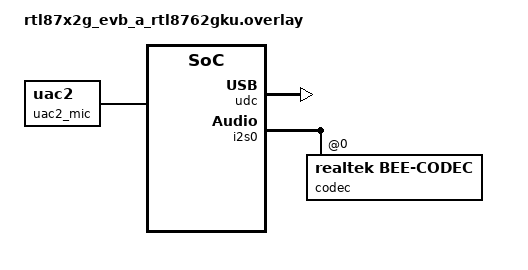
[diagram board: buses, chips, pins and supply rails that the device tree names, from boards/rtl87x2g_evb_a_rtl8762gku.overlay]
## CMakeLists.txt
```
# SPDX-License-Identifier: Apache-2.0

cmake_minimum_required(VERSION 3.20.0)
find_package(Zephyr REQUIRED HINTS $ENV{ZEPHYR_BASE})
project(uac_mic)

include(${ZEPHYR_BASE}/samples/subsys/usb/common/common.cmake)

FILE(GLOB app_sources src/*.c)
target_sources(app PRIVATE ${app_sources})
```

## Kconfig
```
# Copyright (c) 2026 Realtek Semiconductor Corporation
# SPDX-License-Identifier: Apache-2.0

source "samples/subsys/usb/common/Kconfig.sample_usbd"

source "Kconfig.zephyr"
```

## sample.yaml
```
sample:
  name: USB audio microphone sample
tests:
  sample.usb.audio.uac_mic:
    depends_on: usb_device
    tags: usb
    arch_exclude: posix
    harness: console
    harness_config:
      type: multi_line
      ordered: true
      regex:
        - "Entered main"
        - "Found USB Microphone Device"
        - "USB enabled"
```

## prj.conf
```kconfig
CONFIG_STDOUT_CONSOLE=y

#USB related configs
CONFIG_USB_DEVICE_STACK_NEXT=y
CONFIG_CDC_ACM_SERIAL_INITIALIZE_AT_BOOT=n
CONFIG_USBD_AUDIO2_CLASS=y
CONFIG_UDC_DWC2_PTI=y
CONFIG_SAMPLE_USBD_PID=0x000F
CONFIG_SAMPLE_USBD_PRODUCT="Zephyr USB audio mic sample"

#LOG subsystem related configs
CONFIG_LOG=y
CONFIG_USBD_LOG_LEVEL_WRN=y
CONFIG_UDC_DRIVER_LOG_LEVEL_WRN=y

#I2S and codec configs (for MIC capture)
CONFIG_I2S=y
CONFIG_I2S_BEE=y
CONFIG_I2S_BEE_TX=y
CONFIG_I2S_BEE_RX=y
CONFIG_AUDIO=y
CONFIG_AUDIO_CODEC=y
CONFIG_AUDIO_CODEC_BEE=y
CONFIG_DMA=y
```

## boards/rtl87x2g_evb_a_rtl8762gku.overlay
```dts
#include <zephyr/dt-bindings/usb/audio.h>

zephyr_udc0: &udc {
	status = "okay";
};

/ {
	aliases {
		test-i2s = &i2s0;
		test-codec = &codec;
	};

	/*
	 * UAC2 microphone topology (capture, device -> host):
	 *
	 *   clock -> in_clock
	 *   Microphone Input Terminal (mic_input) -> USB Streaming Output
	 *   Terminal (in_terminal) -> AudioStreaming IN endpoint (as_in)
	 *
	 * 48 kHz / 16-bit / 2 channels, front-left + front-right.
	 */
	uac2_mic: usb_audio2 {
		compatible = "zephyr,uac2";
		full-speed;
		high-speed;
		audio-function = <AUDIO_FUNCTION_MICROPHONE>;

		uac_aclk: aclk {
			compatible = "zephyr,uac2-clock-source";
			clock-type = "internal-fixed";
			frequency-control = "read-only";
			sampling-frequencies = <48000>;
		};

		mic_input: input_terminal {
			compatible = "zephyr,uac2-input-terminal";
			clock-source = <&uac_aclk>;
			terminal-type = <INPUT_TERMINAL_MICROPHONE>;
			front-left;
			front-right;
		};

		in_terminal: output_terminal {
			compatible = "zephyr,uac2-output-terminal";
			data-source = <&mic_input>;
			clock-source = <&uac_aclk>;
			terminal-type = <USB_TERMINAL_STREAMING>;
		};

		as_in: audio_streaming {
			compatible = "zephyr,uac2-audio-streaming";
			linked-terminal = <&in_terminal>;
			subslot-size = <2>;
			bit-resolution = <16>;
			/* 1000 us = bInterval 4: one 48-sample packet per poll,
			 * ~1000 sends/s. Larger/fewer transfers keep the single
			 * core from starving the I2S reader (250 us needs ~4000
			 * sends/s and empties the ring -> silence).
			 */
			polling-period-us = <1000>;
		};
	};
};

/* i2s codec rx */
&i2s0 {
	dmas = <&dma0 0 41 0x26a1>, <&dma0 1 42 0x648a>;
	dma-names = "tx", "rx";
	pinctrl-0 = <&i2s0_default>;
	pinctrl-names = "default";

	status = "okay";
	codec: codec@0 {
		compatible = "realtek,bee-codec";
		reg = <0>;
		channel-sequence = "l_r";
		mic-bias = "1_8";
		mic-bst-gain = "30dB";
		mic-bst-mode = "differential";
		mic-type = "amic";
		dmic-data-latch = "rising_latch";
		ad-gain = <0x2f>;
		boost-gain = "0dB";
		pinctrl-0 = <&codec_default>;
		pinctrl-names = "default";
		status = "okay";
	};
};

&dma0 {
    status = "okay";
};

&pinctrl {
	i2s0_default: i2s0_default {
		group1 {
			psels = <BEE_PSEL(BCLK_SPORT0, P4_0)>,
				<BEE_PSEL(LRC_RX_SPORT0, P4_1)>, /* i2s_codec_rx waveform */
				<BEE_PSEL(LRC_SPORT0, P4_2)>, /* i2s_tx/i2s_codec_tx waveform */
				<BEE_PSEL(SDI_CODEC_SLAVE, P4_3)>, /* i2s_codec_rx/tx waveform */
				<BEE_PSEL(SDO_CODEC_SLAVE, P4_4)>, /* i2s_codec_rx/tx waveform */
				<BEE_PSEL(ADCDAT_SPORT0, P4_5)>, /* i2s_tx waveform */
				<BEE_PSEL(DACDAT_SPORT0, P4_6)>; /* i2s_tx waveform */
			output-enable;
			output-low;
			bias-disable;
		};
	};

	codec_default: codec_default {
		group1 {
			psels = <BEE_PSEL(PWR_OFF, P2_6)>, /* amic */
				<BEE_PSEL(PWR_OFF, P2_7)>, /* amic */
				<BEE_PSEL(PDM_CLK, P2_4)>, /* i2s_codec_tx waveform */
				<BEE_PSEL(PDM_DATA, P2_5)>; /* i2s_codec_tx waveform */
			/* <BEE_PSEL(DMIC1_CLK, P3_2)>, /* dmic */
			/* <BEE_PSEL(DMIC1_DAT, P3_3)>; /* dmic */
			output-disable;
			bias-disable;
		};
	};
};
```

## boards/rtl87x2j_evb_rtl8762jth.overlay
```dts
#include <zephyr/dt-bindings/usb/audio.h>

zephyr_udc0: &udc {
	status = "okay";
};

/ {
	aliases {
		test-i2s = &i2s0;
		test-codec = &codec;
	};

	/*
	 * UAC2 microphone topology (capture, device -> host):
	 *
	 *   clock -> in_clock
	 *   Microphone Input Terminal (mic_input) -> USB Streaming Output
	 *   Terminal (in_terminal) -> AudioStreaming IN endpoint (as_in)
	 *
	 * 48 kHz / 16-bit / 2 channels, front-left + front-right.
	 */
	uac2_mic: usb_audio2 {
		compatible = "zephyr,uac2";
		full-speed;
		high-speed;
		audio-function = <AUDIO_FUNCTION_MICROPHONE>;

		uac_aclk: aclk {
			compatible = "zephyr,uac2-clock-source";
			clock-type = "internal-fixed";
			frequency-control = "read-only";
			sampling-frequencies = <48000>;
		};

		mic_input: input_terminal {
			compatible = "zephyr,uac2-input-terminal";
			clock-source = <&uac_aclk>;
			terminal-type = <INPUT_TERMINAL_MICROPHONE>;
			front-left;
			front-right;
		};

		in_terminal: output_terminal {
			compatible = "zephyr,uac2-output-terminal";
			data-source = <&mic_input>;
			clock-source = <&uac_aclk>;
			terminal-type = <USB_TERMINAL_STREAMING>;
		};

		as_in: audio_streaming {
			compatible = "zephyr,uac2-audio-streaming";
			linked-terminal = <&in_terminal>;
			subslot-size = <2>;
			bit-resolution = <16>;
			/* 1000 us = bInterval 4: one 48-sample packet per poll,
			 * ~1000 sends/s. Larger/fewer transfers keep the single
			 * core from starving the I2S reader (250 us needs ~4000
			 * sends/s and empties the ring -> silence).
			 */
			polling-period-us = <1000>;
		};
	};
};

/* i2s codec rx */
&i2s0 {
	dmas = <&dma0 0 16 0x26a1>, <&dma0 1 17 0x648a>;
	dma-names = "tx", "rx";
	pinctrl-0 = <&i2s0_default>;
	pinctrl-names = "default";
	status = "okay";

	codec: codec@0 {
		compatible = "realtek,bee-codec";
		reg = <0>;
		channel-sequence = "l_r";
		mic-bias = "1_8";
		mic-bst-gain = "30dB";
		mic-bst-mode = "differential";
		mic-type = "amic";
		dmic-data-latch = "rising_latch";
		ad-gain = <0x2f>;
		boost-gain = "0dB";
		pinctrl-0 = <&codec_default>;
		pinctrl-names = "default";
		status = "okay";
	};
};

&dma0 {
    status = "okay";
};

&pinctrl {
	i2s0_default: i2s0_default {
		group1 {
			psels = <BEE_PSEL(BCLK_SPORT0, P2_0)>,
				<BEE_PSEL(LRC_SPORT0, P2_1)>, /* i2s_tx/i2s_codec_rx waveform */
				<BEE_PSEL(SDI_CODEC_SLAVE, P2_2)>, /* i2s_codec_rx waveform */
				<BEE_PSEL(SDO_CODEC_SLAVE, P2_3)>, /* i2s_codec_rx waveform */
				<BEE_PSEL(ADCDAT_SPORT0, P2_4)>, /* i2s_tx waveform */
				<BEE_PSEL(DACDAT_SPORT0, P2_5)>; /* i2s_tx waveform */
			output-enable;
			output-low;
			bias-disable;
		};
	};

	codec_default: codec_default {
		group1 {
			psels = <BEE_PSEL(PWR_OFF, P2_6)>, /* amic */
				<BEE_PSEL(PWR_OFF, P2_7)>; /* amic */
			/* <BEE_PSEL(DMIC1_CLK, P2_6)>, /* dmic */
			/* <BEE_PSEL(DMIC1_DAT, P2_7)>; /* dmic */
			output-disable;
			bias-disable;
		};

		group2 {
			psels = <BEE_PSEL(SW_MODE, MICBIAS)>; /* amic */
			output-enable;
			output-high;
			bias-disable;
		};
	};
};
```

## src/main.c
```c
/*
 * Copyright (c) 2026 Realtek Semiconductor Corporation
 *
 * SPDX-License-Identifier: Apache-2.0
 */

#include <zephyr/kernel.h>
#include <zephyr/sys/ring_buffer.h>
#include <zephyr/logging/log.h>

#include <sample_usbd.h>
#include <zephyr/usb/usbd.h>
#include <zephyr/usb/class/usbd_uac2.h>
#include <zephyr/drivers/usb/usb_buf.h>	/* UDC_BUF_ALIGN / UDC_BUF_GRANULARITY */

#include <zephyr/drivers/i2s.h>
#include <zephyr/audio/codec.h>

LOG_MODULE_REGISTER(uac_mic, LOG_LEVEL_INF);

/* ------------------------------------------------------------------
 * UAC2 topology (defined in the board overlay, node label "uac2_mic").
 *
 * usbd_uac2_send() and the terminal callbacks address the USB Streaming
 * *output* terminal (in_terminal), i.e. the entity that feeds the IN
 * endpoint (device -> host).
 * ------------------------------------------------------------------ */
#define UAC2_NODE		DT_NODELABEL(uac2_mic)
#define MIC_IN_TERMINAL_ID	UAC2_ENTITY_ID(DT_NODELABEL(in_terminal))

/* Audio format: 48 kHz, 16-bit, 2 channels (matches the RTL87x2g codec cfg). */
#define SAMPLE_FREQUENCY	48000
#define SAMPLE_BIT_WIDTH	16
#define NUMBER_OF_CHANNELS	2
#define BYTES_PER_SAMPLE	DIV_ROUND_UP(SAMPLE_BIT_WIDTH, 8)
#define BYTES_PER_SLOT		(BYTES_PER_SAMPLE * NUMBER_OF_CHANNELS)

/* High-Speed polling period; must match polling-period-us in the overlay.
 * 1000 us = bInterval 4 = 48 samples/packet, ~1000 sends/s (see overlay).
 */
#define HS_POLLING_PERIOD_US	1000
#define HS_MICROFRAMES_PER_POLL	(HS_POLLING_PERIOD_US / 125)

/* Samples the host expects per polling interval: 48 at Full-Speed (1 ms),
 * 6 per microframe * the microframes covered by one High-Speed poll.
 */
#define FS_SAMPLES_PER_SOF	(SAMPLE_FREQUENCY / 1000)
#define HS_SAMPLES_PER_SOF	(SAMPLE_FREQUENCY / 8000 * HS_MICROFRAMES_PER_POLL)
/* Async mic may carry nominal + 1 samples, size the USB buffer for the worst case. */
#define MAX_FRAME_BYTES		((FS_SAMPLES_PER_SOF + 1) * BYTES_PER_SLOT)

/* One I2S DMA block == 1 ms of audio == one Full-Speed frame. */
#define I2S_BLOCK_SIZE		(FS_SAMPLES_PER_SOF * BYTES_PER_SLOT)	/* 192 */
/* Slab must exceed the driver's RX queue depth (CONFIG_I2S_BEE_RX_BLOCK_COUNT
 * = 8) so the DMA can always allocate a fresh block without exhausting the
 * slab and latching I2S_STATE_ERROR.
 */
#define NUM_I2S_BLOCKS		10

/* I2S RX DMA buffers. */
K_MEM_SLAB_DEFINE_STATIC(i2s_rx_slab, I2S_BLOCK_SIZE, NUM_I2S_BLOCKS, 32);

/* USB TX buffers must satisfy the UDC alignment/granularity requirements. */
#define NUM_USB_BUFS		8
K_MEM_SLAB_DEFINE_STATIC(usb_tx_slab,
			 ROUND_UP(MAX_FRAME_BYTES, UDC_BUF_GRANULARITY),
			 NUM_USB_BUFS, UDC_BUF_ALIGN);

/* Decouples the I2S timing (1 ms blocks) from the USB framing
 * (Full-Speed 1 ms / High-Speed 125 us). Single producer (reader thread),
 * single consumer (SOF callback).
 */
#define MIC_RING_SIZE		(I2S_BLOCK_SIZE * NUM_I2S_BLOCKS)
RING_BUF_DECLARE(mic_ring, MIC_RING_SIZE);

/* Asynchronous IN endpoint: the codec clock is free-running (not synchronized
 * to USB SOF), so we send nominal +/- 1 samples per (micro)frame to keep the
 * ring near half full. This lets the host track the device's real sample rate
 * instead of drifting until the buffer over- or under-runs.
 */
#define RING_LOW_WM		(MIC_RING_SIZE / 4)
#define RING_HIGH_WM		(MIC_RING_SIZE - MIC_RING_SIZE / 4)

/* I2S + codec devices, aliased in the board overlay:
 *   /aliases { test-i2s = &i2s0; test-codec = &codec; };
 */
static const struct device *const dev_i2s =
	DEVICE_DT_GET_OR_NULL(DT_ALIAS(test_i2s));
static const struct device *const dev_codec =
	DEVICE_DT_GET_OR_NULL(DT_ALIAS(test_codec));

struct mic_ctx {
	const struct device *uac2_dev;
	bool mic_enabled;
	bool microframes;
};
static struct mic_ctx ctx;

static K_SEM_DEFINE(mic_run_sem, 0, 1);

/* --- diagnostic counters (each written by a single context) --- */
static uint32_t st_blocks;	/* I2S blocks read by reader thread */
static uint32_t st_overflow;	/* ring overflow events (reader) */
static uint32_t st_sof;		/* sof_cb calls while enabled */
static uint32_t st_sent;	/* usbd_uac2_send() == 0 */
static uint32_t st_fail;	/* usbd_uac2_send() != 0 */
static uint32_t st_nobuf;	/* usb_tx_slab exhausted */
static uint32_t st_underrun;	/* ring had < one frame */
static int st_last_err;		/* last non-zero usbd_uac2_send() return */
static uint32_t st_recover;	/* I2S RX error recoveries (DROP+START) */

/* Buffers handed to usbd_uac2_send() but not yet returned via buf_release.
 * The class allows max 2 in flight; track it so sof_cb skips the alloc/copy/
 * send work when the queue is already full instead of bouncing on -EAGAIN.
 */
static atomic_t tx_outstanding;

/* ==================================================================
 * I2S + codec capture pipeline (unchanged data path)
 * ================================================================== */

static int i2s_codec_start(void)
{
	struct audio_codec_cfg codec_cfg = { 0 };
	audio_property_value_t val = { .mute = false };

	codec_cfg.mclk_freq = 2500000;
	codec_cfg.dai_type = AUDIO_DAI_TYPE_I2S;
	codec_cfg.dai_cfg.i2s.frame_clk_freq = SAMPLE_FREQUENCY;
	codec_cfg.dai_cfg.i2s.word_size = SAMPLE_BIT_WIDTH;
	codec_cfg.dai_cfg.i2s.channels = NUMBER_OF_CHANNELS;
	codec_cfg.dai_cfg.i2s.format =
		I2S_FMT_DATA_FORMAT_I2S | I2S_FMT_DATA_ORDER_MSB;
	codec_cfg.dai_cfg.i2s.options =
		I2S_OPT_BIT_CLK_CONT | I2S_OPT_BIT_CLK_CONTROLLER |
		I2S_OPT_FRAME_CLK_CONTROLLER | I2S_OPT_PINGPONG;
	codec_cfg.dai_cfg.i2s.block_size = I2S_BLOCK_SIZE;
	codec_cfg.dai_cfg.i2s.mem_slab = &i2s_rx_slab;
	/* Finite timeout so i2s_read() returns (-EAGAIN when momentarily empty,
	 * -EIO once the bee driver latches I2S_STATE_ERROR) instead of blocking
	 * the reader forever after an overflow. Keep it short for fast recovery.
	 */
	codec_cfg.dai_cfg.i2s.timeout = 20;

	if (audio_codec_configure(dev_codec, &codec_cfg)) {
		LOG_ERR("codec configure failed");
		return -EIO;
	}
	audio_codec_set_property(dev_codec, AUDIO_PROPERTY_OUTPUT_MUTE,
				 AUDIO_CHANNEL_ALL, val);
	val.vol = 0xaf;
	audio_codec_set_property(dev_codec, AUDIO_PROPERTY_OUTPUT_VOLUME,
				 AUDIO_CHANNEL_ALL, val);
	audio_codec_apply_properties(dev_codec);
	audio_codec_start_output(dev_codec);

	if (i2s_configure(dev_i2s, I2S_DIR_RX, &codec_cfg.dai_cfg.i2s)) {
		LOG_ERR("i2s configure failed");
		audio_codec_stop_output(dev_codec);
		return -EIO;
	}

	if (i2s_trigger(dev_i2s, I2S_DIR_RX, I2S_TRIGGER_START)) {
		LOG_ERR("i2s trigger start failed");
		i2s_configure(dev_i2s, I2S_DIR_RX,
			      &(struct i2s_config){ .frame_clk_freq = 0 });
		audio_codec_stop_output(dev_codec);
		return -EIO;
	}

	LOG_INF("I2S + codec started");
	return 0;
}

static void i2s_codec_stop(void)
{
	i2s_trigger(dev_i2s, I2S_DIR_RX, I2S_TRIGGER_DROP);
	i2s_configure(dev_i2s, I2S_DIR_RX,
		      &(struct i2s_config){ .frame_clk_freq = 0 });
	audio_codec_stop_output(dev_codec);
	ring_buf_reset(&mic_ring);
	LOG_INF("I2S + codec stopped");
}

/* Reader thread: pull I2S blocks and push PCM bytes into the ring buffer. */
static void mic_reader_thread(void *a, void *b, void *c)
{
	ARG_UNUSED(a);
	ARG_UNUSED(b);
	ARG_UNUSED(c);

	while (1) {
		k_sem_take(&mic_run_sem, K_FOREVER);

		/* Guard against a stale give: the host may toggle the interface
		 * off again before we wake up. Only start if still enabled.
		 */
		if (!ctx.mic_enabled) {
			continue;
		}

		if (i2s_codec_start()) {
			continue;
		}

		while (ctx.mic_enabled) {
			void *block;
			size_t size;
			uint32_t put;
			int ret;

			ret = i2s_read(dev_i2s, &block, &size);
			if (ret == -EAGAIN) {
				/* out_queue momentarily empty (RX still
				 * running); keep polling.
				 */
				continue;
			}
			if (ret < 0) {
				/* The bee driver latches I2S_STATE_ERROR after
				 * an out_queue overflow and stops re-arming the
				 * DMA. Re-arm the stream (DROP clears the error
				 * and purges queues; START restarts capture)
				 * instead of tearing the whole pipeline down.
				 */
				st_last_err = ret;
				st_recover++;
				i2s_trigger(dev_i2s, I2S_DIR_RX,
					    I2S_TRIGGER_DROP);
				if (i2s_trigger(dev_i2s, I2S_DIR_RX,
						I2S_TRIGGER_START)) {
					break;
				}
				continue;
			}

			put = ring_buf_put(&mic_ring, block, size);
			if (put < size) {
				st_overflow++;
			}
			st_blocks++;

			k_mem_slab_free(&i2s_rx_slab, block);
		}

		i2s_codec_stop();
	}
}

/*
 * Preemptible, below the cooperative usbd/dwc2 threads (K_PRIO_COOP(8)). The
 * reader's work is tiny (~1000 blocks/sec of ring_buf_put + slab free) and the
 * RX out_queue gives ~8ms of slack, so it does not need to race USB: it runs in
 * the CPU the USB threads leave idle, and they preempt it instantly so the
 * time-critical iso re-arm is never delayed. Making it cooperative and above
 * them (K_PRIO_COOP(7)) stalled the re-arm and overflowed the ring.
 */
K_THREAD_DEFINE(mic_tid, 2048, mic_reader_thread, NULL, NULL, NULL,
		K_PRIO_PREEMPT(1), 0, 0);

/* Diagnostic: dump the pipeline counters once per second. */
static void mic_stats_thread(void *a, void *b, void *c)
{
	ARG_UNUSED(a);
	ARG_UNUSED(b);
	ARG_UNUSED(c);

	while (1) {
		k_sleep(K_SECONDS(1));
		LOG_INF("en=%d blk=%u ovf=%u rec=%u | sof=%u sent=%u "
			"fail=%u(err %d) nobuf=%u ur=%u fill=%u",
			ctx.mic_enabled, st_blocks, st_overflow, st_recover,
			st_sof, st_sent, st_fail, st_last_err,
			st_nobuf, st_underrun, ring_buf_size_get(&mic_ring));
	}
}

K_THREAD_DEFINE(mic_stats_tid, 1024, mic_stats_thread, NULL, NULL, NULL,
		K_PRIO_PREEMPT(9), 0, 0);

/* ==================================================================
 * UAC2 class callbacks
 * ================================================================== */

static inline int samples_per_sof(void)
{
	return ctx.microframes ? HS_SAMPLES_PER_SOF : FS_SAMPLES_PER_SOF;
}

/* Arm one packet on the IN endpoint if a buffer slot is free. Called twice per
 * SOF so both slots of the class's double buffer stay filled.
 */
static void mic_try_send(void)
{
	uint32_t frame_bytes;
	uint32_t fill;
	uint32_t n;
	int samples;
	void *buf;
	int ret;

	if (!ctx.mic_enabled) {
		return;
	}
	if (atomic_get(&tx_outstanding) >= 2) {
		return;
	}

	/* Adaptive frame size: nudge +/- 1 sample to keep the ring near
	 * half full and compensate for codec-vs-USB clock drift.
	 */
	samples = samples_per_sof();
	fill = ring_buf_size_get(&mic_ring);
	if (fill > RING_HIGH_WM) {
		samples += 1;	/* drain a little faster */
	} else if (fill < RING_LOW_WM) {
		samples -= 1;	/* let the ring refill */
	}
	frame_bytes = samples * BYTES_PER_SLOT;

	if (k_mem_slab_alloc(&usb_tx_slab, &buf, K_NO_WAIT)) {
		st_nobuf++;
		return;
	}

	n = ring_buf_get(&mic_ring, buf, frame_bytes);
	if (n < frame_bytes) {
		/* Underrun: pad with silence so the host clock keeps going. */
		memset((uint8_t *)buf + n, 0, frame_bytes - n);
		st_underrun++;
	}

	ret = usbd_uac2_send(ctx.uac2_dev, MIC_IN_TERMINAL_ID, buf, frame_bytes);
	if (ret) {
		st_fail++;
		st_last_err = ret;
		k_mem_slab_free(&usb_tx_slab, buf);
	} else {
		atomic_inc(&tx_outstanding);
		st_sent++;
	}
}

/* Called every Start of Frame; keep both endpoint buffer slots armed. */
static void mic_sof(const struct device *dev, void *user_data)
{
	ARG_UNUSED(dev);
	ARG_UNUSED(user_data);

	if (!ctx.mic_enabled) {
		return;
	}

	st_sof++;

	/* Top up to the 2-buffer limit; buf_release normally keeps us armed,
	 * this re-primes if both slots drained (e.g. right after enable).
	 */
	mic_try_send();
	mic_try_send();
}

/* Host enabled/disabled the microphone AudioStreaming interface. */
static void mic_terminal_update(const struct device *dev, uint8_t terminal,
				bool enabled, bool microframes, void *user_data)
{
	ARG_UNUSED(dev);
	ARG_UNUSED(user_data);

	if (terminal != MIC_IN_TERMINAL_ID) {
		return;
	}

	ctx.microframes = microframes;

	if (enabled && !ctx.mic_enabled) {
		atomic_set(&tx_outstanding, 0);	/* clear any stale in-flight count */
		ctx.mic_enabled = true;
		k_sem_give(&mic_run_sem);	/* wake the I2S reader thread */
	} else if (!enabled) {
		ctx.mic_enabled = false;	/* reader thread stops the I2S */
	}
}

/* USB stack is done with a buffer previously passed to usbd_uac2_send(). */
static void mic_buf_release(const struct device *dev, uint8_t terminal,
			    void *buf, void *user_data)
{
	ARG_UNUSED(dev);
	ARG_UNUSED(terminal);
	ARG_UNUSED(user_data);

	atomic_dec(&tx_outstanding);
	k_mem_slab_free(&usb_tx_slab, buf);
}

static const struct uac2_ops mic_ops = {
	.sof_cb = mic_sof,
	.terminal_update_cb = mic_terminal_update,
	.buf_release_cb = mic_buf_release,
	/* get_recv_buf/data_recv_cb are only needed for playback (host -> device). */
	/* feedback_cb is not needed: capture (IN) endpoints do not use feedback. */
};

/* ==================================================================
 * main
 * ================================================================== */

int main(void)
{
	struct usbd_context *usbd;
	int ret;

	LOG_INF("Entered %s", __func__);

	ctx.uac2_dev = DEVICE_DT_GET(UAC2_NODE);
	if (!device_is_ready(ctx.uac2_dev)) {
		LOG_ERR("UAC2 device is not ready");
		return 0;
	}
	if (dev_i2s == NULL || !device_is_ready(dev_i2s)) {
		LOG_ERR("I2S device is not ready");
		return 0;
	}
	if (dev_codec == NULL || !device_is_ready(dev_codec)) {
		LOG_ERR("codec device is not ready");
		return 0;
	}

	usbd_uac2_set_ops(ctx.uac2_dev, &mic_ops, &ctx);

	usbd = sample_usbd_init_device(NULL);
	if (usbd == NULL) {
		LOG_ERR("failed to initialize USB device");
		return 0;
	}

	ret = usbd_enable(usbd);
	if (ret) {
		LOG_ERR("failed to enable USB device: %d", ret);
		return 0;
	}

	LOG_INF("UAC2 microphone ready");
	return 0;
}
```
